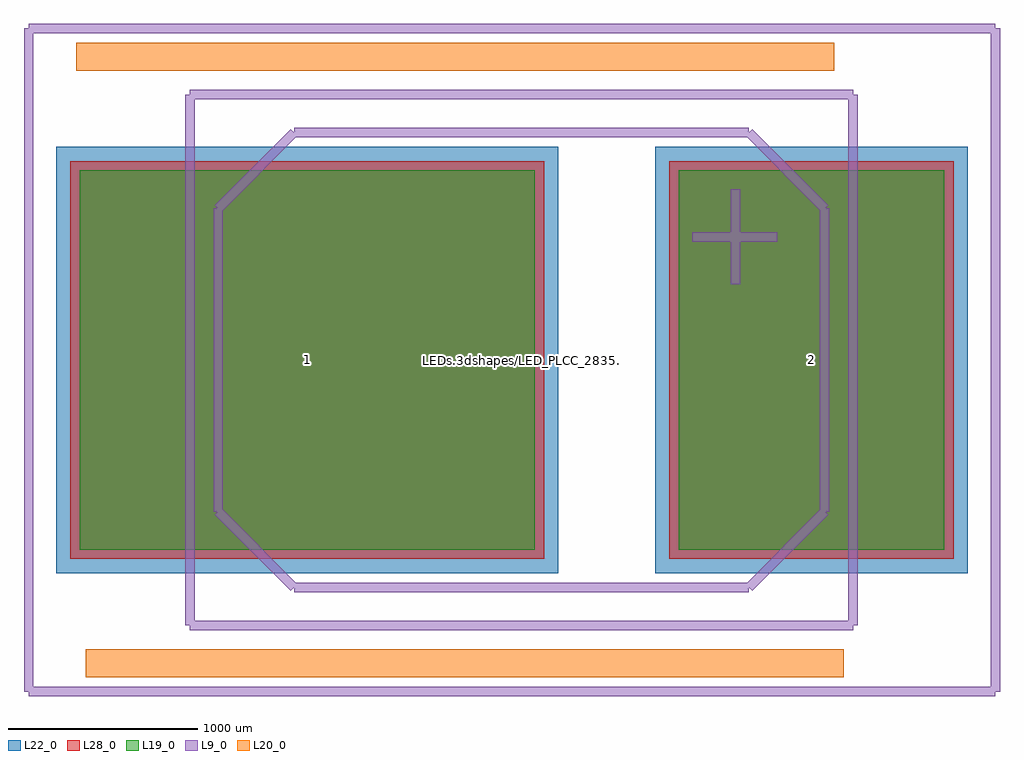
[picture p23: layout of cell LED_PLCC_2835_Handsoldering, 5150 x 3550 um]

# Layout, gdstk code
import gdstk
lib = gdstk.Library(unit=1e-6, precision=1e-09)
def R(c, l, rs):  # rectangles x0, y0, x1, y1
    for r in rs: c.add(gdstk.rectangle(r[:2], r[2:], *l))
L9_0 = (9, 0)
L19_0 = (19, 0)
L20_0 = (20, 0)
L22_0 = (22, 0)
L28_0 = (28, 0)

led_plcc_2835_handsolder = lib.new_cell('LED_PLCC_2835_Handsoldering')
R(led_plcc_2835_handsolder, L19_0, [(-2330.28,-999.85,69.72,1000.15), (829.72,-999.85,2229.72,1000.15)])
R(led_plcc_2835_handsolder, L22_0, [(-2455.28,-1124.85,194.72,1125.15), (704.72,-1124.85,2354.72,1125.15)])
R(led_plcc_2835_handsolder, L28_0, [(-2380.28,-1049.85,119.72,1050.15), (779.72,-1049.85,2279.72,1050.15)])
led_plcc_2835_handsolder.add(gdstk.FlexPath([(1749.72,-1399.85),(-1750.28,-1399.85)], 50, ends="flush", simple_path=True, layer=9, datatype=0))  # L9_0
led_plcc_2835_handsolder.add(gdstk.FlexPath([(-1750.28,-1399.85),(-1750.28,1400.15)], 50, ends="flush", simple_path=True, layer=9, datatype=0))  # L9_0
led_plcc_2835_handsolder.add(gdstk.FlexPath([(-1750.28,1400.15),(1749.72,1400.15)], 50, ends="flush", simple_path=True, layer=9, datatype=0))  # L9_0
led_plcc_2835_handsolder.add(gdstk.FlexPath([(1749.72,1400.15),(1749.72,-1399.85)], 50, ends="flush", simple_path=True, layer=9, datatype=0))  # L9_0
led_plcc_2835_handsolder.add(gdstk.FlexPath([(1599.72,0.15),(1599.72,-799.85)], 50, ends="flush", simple_path=True, layer=9, datatype=0))  # L9_0
led_plcc_2835_handsolder.add(gdstk.FlexPath([(1599.72,-799.85),(1199.72,-1199.85)], 50, ends="flush", simple_path=True, layer=9, datatype=0))  # L9_0
led_plcc_2835_handsolder.add(gdstk.FlexPath([(1199.72,-1199.85),(-1200.28,-1199.85)], 50, ends="flush", simple_path=True, layer=9, datatype=0))  # L9_0
led_plcc_2835_handsolder.add(gdstk.FlexPath([(-1200.28,-1199.85),(-1600.28,-799.85)], 50, ends="flush", simple_path=True, layer=9, datatype=0))  # L9_0
led_plcc_2835_handsolder.add(gdstk.FlexPath([(-1600.28,-799.85),(-1600.28,800.15)], 50, ends="flush", simple_path=True, layer=9, datatype=0))  # L9_0
led_plcc_2835_handsolder.add(gdstk.FlexPath([(-1600.28,800.15),(-1200.28,1200.15)], 50, ends="flush", simple_path=True, layer=9, datatype=0))  # L9_0
led_plcc_2835_handsolder.add(gdstk.FlexPath([(-1200.28,1200.15),(1199.72,1200.15)], 50, ends="flush", simple_path=True, layer=9, datatype=0))  # L9_0
led_plcc_2835_handsolder.add(gdstk.FlexPath([(1199.72,1200.15),(1599.72,800.15)], 50, ends="flush", simple_path=True, layer=9, datatype=0))  # L9_0
led_plcc_2835_handsolder.add(gdstk.FlexPath([(1599.72,800.15),(1599.72,0.15)], 50, ends="flush", simple_path=True, layer=9, datatype=0))  # L9_0
led_plcc_2835_handsolder.add(gdstk.FlexPath([(1699.72,-1599.85),(-2300.28,-1599.85)], 149.998, ends="flush", simple_path=True, layer=20, datatype=0))  # L20_0
led_plcc_2835_handsolder.add(gdstk.FlexPath([(1649.72,1600.15),(-2350.28,1600.15)], 149.998, ends="flush", simple_path=True, layer=20, datatype=0))  # L20_0
led_plcc_2835_handsolder.add(gdstk.FlexPath([(2499.72,-1749.85),(-2600.28,-1749.85)], 50, ends="flush", simple_path=True, layer=9, datatype=0))  # L9_0
led_plcc_2835_handsolder.add(gdstk.FlexPath([(-2600.28,-1749.85),(-2600.28,1750.15)], 50, ends="flush", simple_path=True, layer=9, datatype=0))  # L9_0
led_plcc_2835_handsolder.add(gdstk.FlexPath([(-2600.28,1750.15),(2499.72,1750.15)], 50, ends="flush", simple_path=True, layer=9, datatype=0))  # L9_0
led_plcc_2835_handsolder.add(gdstk.FlexPath([(2499.72,1750.15),(2499.72,-1749.85)], 50, ends="flush", simple_path=True, layer=9, datatype=0))  # L9_0
led_plcc_2835_handsolder.add(gdstk.FlexPath([(1129.72,400.15),(1129.72,900.15)], 50, ends="flush", simple_path=True, layer=9, datatype=0))  # L9_0
led_plcc_2835_handsolder.add(gdstk.FlexPath([(1349.72,650.15),(899.72,650.15)], 50, ends="flush", simple_path=True, layer=9, datatype=0))  # L9_0
led_plcc_2835_handsolder.add(gdstk.Label('LEDs.3dshapes/LED_PLCC_2835.wrl', (0,0), layer=12, texttype=0))
led_plcc_2835_handsolder.add(gdstk.Label('2', (1529.72,0.15), layer=28, texttype=0))
led_plcc_2835_handsolder.add(gdstk.Label('1', (-1130.28,0.15), layer=28, texttype=0))
led_plcc_2835_handsolder.add(gdstk.Label('type', (0,2600), layer=9, texttype=0))
led_plcc_2835_handsolder.add(gdstk.Label('devicename', (20,-2600), layer=9, texttype=0))

lib.write_gds('LED_PLCC_2835_Handsoldering.gds')
